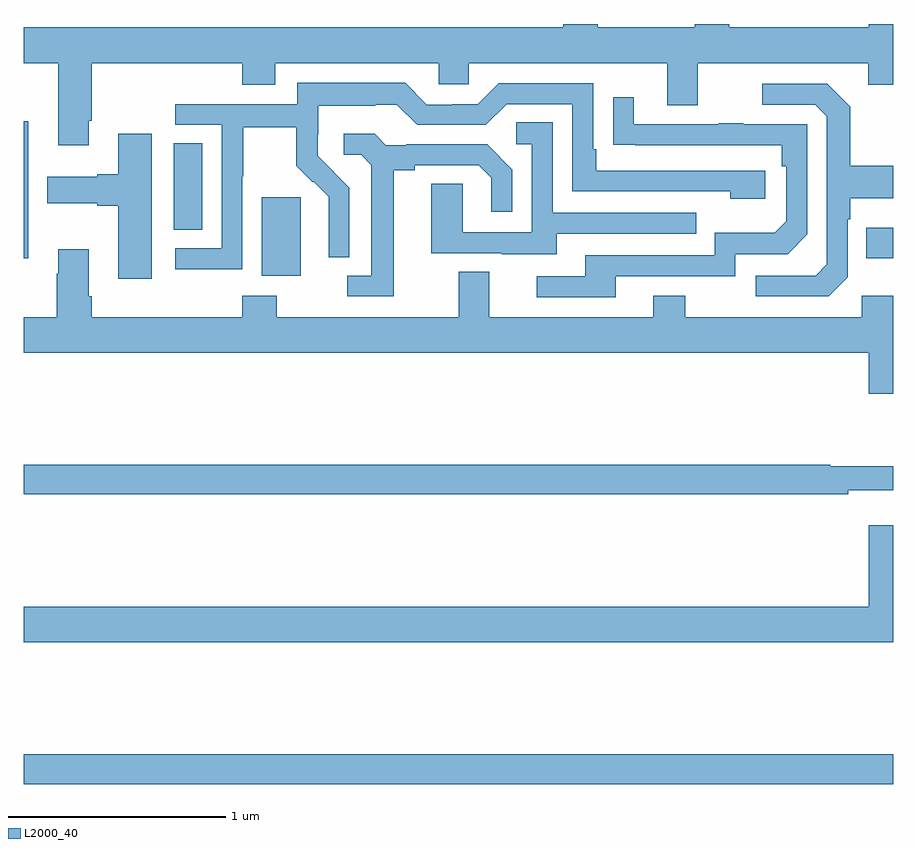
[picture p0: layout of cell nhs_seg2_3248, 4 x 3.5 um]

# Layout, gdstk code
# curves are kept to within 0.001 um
import gdstk
lib = gdstk.Library(unit=1e-6, precision=1e-09)
def R(c, l, rs):  # rectangles x0, y0, x1, y1
    for r in rs: c.add(gdstk.rectangle(r[:2], r[2:], *l))
def P(c, l, *ps):  # polygons
    for p in ps: c.add(gdstk.Polygon(p, *l))
L2000_40 = (2000, 40)

nhs_seg2_3248 = lib.new_cell('nhs_seg2_3248')
R(nhs_seg2_3248, L2000_40, [(281,660.304,285,660.44), (282.095,662.642,282.274,663.003), (281,662.723,281.022,663.352), (284.875,662.723,285,662.863), (281.69,662.854,281.821,663.251)])
P(nhs_seg2_3248, L2000_40, [(281.299,663.355),(281.312,663.355),(281.312,663.62),(282.005,663.62),(282.005,663.521),(282.157,663.521),(282.157,663.62),(282.909,663.62),(282.909,663.522),(283.047,663.522),(283.047,663.62),(283.961,663.62),(283.961,663.426),(284.101,663.426),(284.101,663.62),(284.885,663.62),(284.885,663.521),(285,663.521),(285,663.8),(284.888,663.8),(284.888,663.784),(284.246,663.784),(284.246,663.8),(284.086,663.8),(284.086,663.784),(283.641,663.784),(283.641,663.8),(283.481,663.8),(283.481,663.784),(281,663.784),(281,663.62),(281.159,663.62),(281.159,663.243),(281.299,663.243)],
  [(282.006,663.1),(282.009,663.1),(282.009,663.324),(282.253,663.324),(282.253,663.149),(282.33,663.072),(282.333,663.075),(282.404,663.005),(282.404,662.882),(282.402,662.882),(282.402,662.728),(282.498,662.728),(282.498,663.046),(282.352,663.194),(282.352,663.291),(282.354,663.291),(282.354,663.425),(282.617,663.425),(282.617,663.429),(282.717,663.429),(282.81,663.336),(283.125,663.336),(283.221,663.432),(283.524,663.432),(283.524,663.03),(284.249,663.03),(284.249,662.996),(284.41,662.996),(284.41,663.126),(283.633,663.126),(283.633,663.223),(283.62,663.223),(283.62,663.528),(283.185,663.528),(283.089,663.432),(282.971,663.432),(282.971,663.429),(282.855,663.429),(282.755,663.529),(282.258,663.529),(282.258,663.432),(281.697,663.432),(281.697,663.336),(281.91,663.336),(281.91,662.769),(281.697,662.769),(281.697,662.671),(282.006,662.671)],
  [(284.79,662.634),(284.79,662.903),(284.803,662.903),(284.803,662.999),(285,662.999),(285,663.147),(284.803,663.147),(284.803,663.419),(284.697,663.525),(284.397,663.525),(284.397,663.429),(284.64,663.429),(284.694,663.375),(284.694,662.694),(284.643,662.643),(284.367,662.643),(284.367,662.547),(284.703,662.547)],
  [(283.723,662.64),(284.274,662.64),(284.274,662.742),(284.514,662.742),(284.604,662.832),(284.604,663.339),(284.309,663.339),(284.309,663.344),(284.197,663.344),(284.197,663.339),(283.807,663.339),(283.807,663.463),(283.711,663.463),(283.711,663.244),(284.488,663.243),(284.488,663.146),(284.508,663.146),(284.508,662.892),(284.455,662.839),(284.178,662.839),(284.178,662.736),(283.583,662.736),(283.583,662.64),(283.359,662.64),(283.359,662.544),(283.723,662.544)],
  [(283.453,662.835),(284.093,662.835),(284.093,662.931),(283.434,662.931),(283.434,663.347),(283.266,663.347),(283.266,663.246),(283.338,663.246),(283.338,662.841),(283.02,662.841),(283.02,663.065),(282.875,663.065),(282.875,662.745),(283.199,662.745),(283.199,662.741),(283.453,662.741)],
  [(282.703,663.128),(282.799,663.128),(282.799,663.15),(283.094,663.15),(283.151,663.093),(283.151,662.937),(283.248,662.937),(283.248,663.13),(283.132,663.246),(282.76,663.246),(282.76,663.243),(282.666,663.243),(282.614,663.295),(282.471,663.295),(282.471,663.198),(282.552,663.198),(282.599,663.151),(282.599,662.643),(282.489,662.643),(282.489,662.547),(282.703,662.547)],
  [(281.59,663.295),(281.435,663.295),(281.435,663.11),(281.339,663.11),(281.339,663.097),(281.109,663.097),(281.109,662.975),(281.339,662.975),(281.339,662.963),(281.435,662.963),(281.435,662.628),(281.59,662.628)],
  [(285,662.551),(284.856,662.551),(284.856,662.452),(284.043,662.452),(284.043,662.551),(283.895,662.551),(283.895,662.452),(283.141,662.452),(283.141,662.66),(283.001,662.66),(283.001,662.452),(282.165,662.452),(282.165,662.551),(282.005,662.551),(282.005,662.452),(281.312,662.452),(281.312,662.548),(281.299,662.548),(281.299,662.764),(281.159,662.764),(281.159,662.651),(281.152,662.651),(281.152,662.452),(281,662.452),(281,662.288),(284.888,662.288),(284.888,662.1),(285,662.1)],
  [(284.792,661.655),(285,661.655),(285,661.765),(284.711,661.765),(284.711,661.772),(281,661.772),(281,661.636),(284.792,661.636)],
  [(285,661.495),(284.888,661.495),(284.888,661.12),(281,661.12),(281,660.956),(285,660.956)])

lib.write_gds('nhs_seg2_3248.gds')
